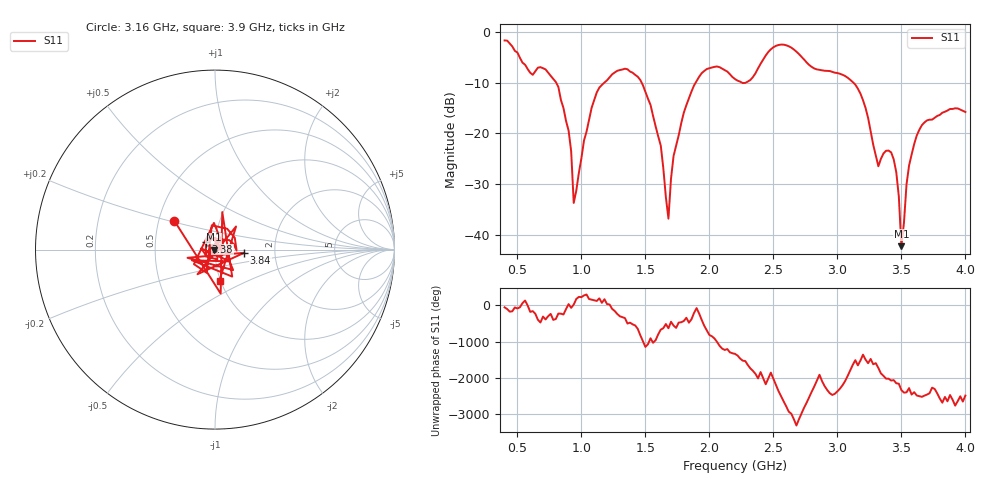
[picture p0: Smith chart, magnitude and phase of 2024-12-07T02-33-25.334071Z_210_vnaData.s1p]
!Created with skrf (http://scikit-rf.org).
# Hz S RI R 50.0
!freq ReS11 ImS11
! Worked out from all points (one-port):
!   181 points, 400 MHz to 4 GHz, reference 50 ohm
!   lowest |S11| = -42.3 dB at 3.5 GHz (marker M1), VSWR 1.02, Z = 49.2 - j0.0378 ohm
!   |S11| at or under -10 dB: 803.2 MHz to 1.178 GHz (374.9 MHz wide, 37.8 % of centre); 1.471 GHz to 1.892 GHz (420.8 MHz wide, 25 % of centre); 3.126 GHz to end of sweep (the widest 3 of 4)
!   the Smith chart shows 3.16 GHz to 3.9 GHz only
!   S11 on the Smith chart (normalised r, x): 3.16 GHz: 0.60, +0.21; 3.38 GHz: 0.90, +0.08; 3.84 GHz: 1.39, -0.05; 3.9 GHz: 0.99, -0.35
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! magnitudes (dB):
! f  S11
! 400 MHz  -1.6
! 620 MHz  -8.4
! 720 MHz  -7.4
! 860 MHz  -15.0
! 920 MHz  -23.5
! 940 MHz  -33.7
! 1.12 GHz  -11.9
! 1.3 GHz  -7.5
! 1.44 GHz  -8.8
! 1.54 GHz  -14.4
! 1.62 GHz  -22.4
! 1.68 GHz  -36.8
! 1.72 GHz  -24.5
! 1.76 GHz  -20.4
! 1.94 GHz  -8.1
! 2.2 GHz  -9.3
! 2.66 GHz  -3.4
! 3.1 GHz  -9.4
! 3.16 GHz  -11.2
! 3.32 GHz  -26.5
! 3.38 GHz  -23.4
! 3.46 GHz  -27.7
! 3.5 GHz  -42.3
! 3.56 GHz  -26.3
! 3.66 GHz  -18.4
! 3.84 GHz  -15.7
! 3.9 GHz  -15.2
! 4 GHz  -15.8
